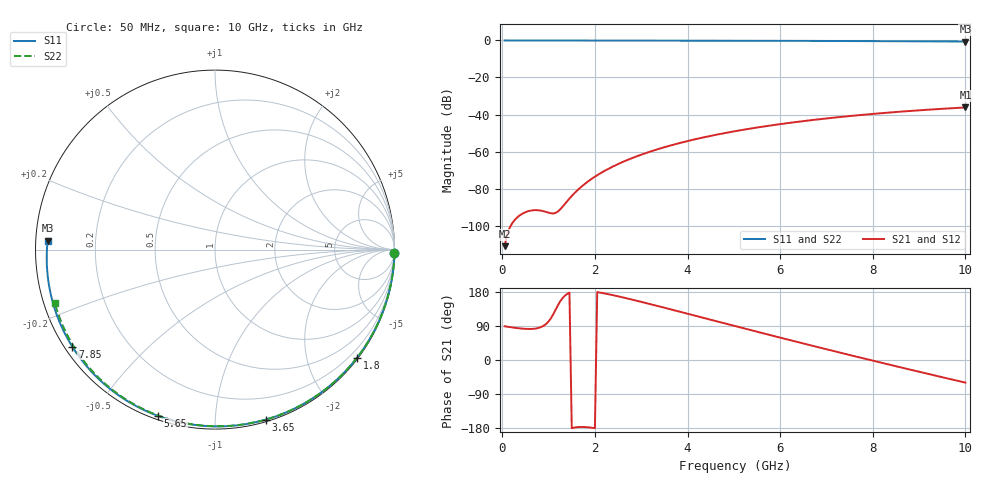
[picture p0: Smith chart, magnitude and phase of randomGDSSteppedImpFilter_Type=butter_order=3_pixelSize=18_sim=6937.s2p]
! freq	dB(S11)	phase(S11)	dB(S12)	phase(S12)
!  dB(S21)	phase(S21)	dB(S22)	phase(S22)
!S-par simulation data
#  GHz  S  DB  R 50
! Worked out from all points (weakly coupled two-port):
!   200 points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, 50 MHz to 10 GHz, reference 50 ohm
!   highest |S21| = -36.19 dB at 10 GHz (marker M1); lowest = -111.1 dB at 50 MHz (marker M2)
!   lowest |S11| = -0.6 dB at 10 GHz (marker M3), VSWR 29.30, Z = 1.71 + j1.32 ohm
!   |S11| at or under -10 dB: nowhere
!   |S22| runs from -0.5 to 0.0 dB; largest |S21 - S12| = 0
!   S11 on the Smith chart (normalised r, x): 50 MHz: open; 1.8 GHz: 0.03, -2.96; 3.65 GHz: 0.02, -1.34; 5.65 GHz: 0.02, -0.71; 7.85 GHz: 0.02, -0.31; 10 GHz: 0.03, +0.03
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0.05  -0.00 -1.1  -111.09 89.0  -111.09 89.0  -0.00 -1.0
0.4  -0.01 -8.5  -94.05 83.1  -94.05 83.1  -0.01 -7.6
0.8  -0.02 -16.8  -91.76 85.3  -91.76 85.3  -0.02 -15.1
1.2  -0.03 -25.1  -92.39 144.1  -92.39 144.1  -0.03 -22.5
1.65  -0.04 -34.3  -80.25 -176.9  -80.25 -176.9  -0.04 -30.8
1.75  -0.05 -36.3  -78.09 -176.8  -78.09 -176.8  -0.04 -32.6
1.8  -0.05 -37.3  -77.10 -177.1  -77.10 -177.1  -0.04 -33.5
2.1  -0.06 -43.4  -71.99 178.1  -71.99 178.1  -0.05 -38.9
2.5  -0.07 -51.3  -66.75 168.1  -66.75 168.1  -0.06 -46.1
2.9  -0.08 -59.1  -62.59 156.5  -62.59 156.5  -0.07 -53.1
3.4  -0.09 -68.6  -58.39 141.1  -58.39 141.1  -0.08 -61.7
3.65  -0.10 -73.3  -56.59 133.2  -56.59 133.2  -0.09 -66.0
4.35  -0.12 -86.1  -52.32 111.0  -52.32 111.0  -0.11 -77.6
5.05  -0.15 -98.5  -48.89 88.8  -48.89 88.8  -0.14 -88.8
5.65  -0.18 -108.9  -46.45 70.0  -46.45 70.0  -0.16 -98.1
6.15  -0.21 -117.4  -44.68 54.4  -44.68 54.4  -0.19 -105.7
6.7  -0.25 -126.6  -42.96 37.5  -42.96 37.5  -0.22 -113.9
7.3  -0.29 -136.6  -41.32 19.2  -41.32 19.2  -0.26 -122.7
7.85  -0.34 -145.8  -40.00 2.8  -40.00 2.8  -0.31 -130.6
8.35  -0.39 -154.2  -38.94 -12.0  -38.94 -12.0  -0.35 -137.8
9.2  -0.49 -168.7  -37.38 -36.8  -37.38 -36.8  -0.44 -150.0
10  -0.59 177.0  -36.19 -59.7  -36.19 -59.7  -0.53 -161.7
